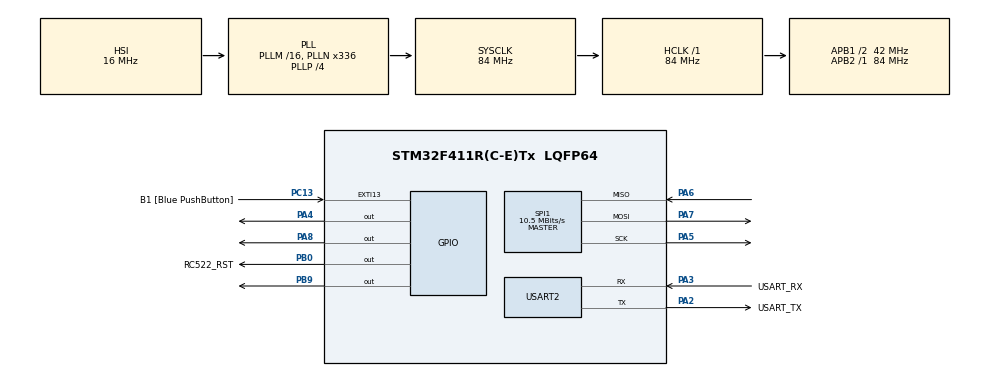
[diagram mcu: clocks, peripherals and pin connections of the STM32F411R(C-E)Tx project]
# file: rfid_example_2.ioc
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Mcu.Family=STM32F4
Mcu.Name=STM32F411R(C-E)Tx
Mcu.Package=LQFP64
NVIC.PriorityGroup=NVIC_PRIORITYGROUP_0
PA13.GPIO_Label=TMS
PA13.Mode=Serial_Wire
PA13.Signal=SYS_JTMS-SWDIO
PA14.GPIO_Label=TCK
PA14.Mode=Serial_Wire
PA14.Signal=SYS_JTCK-SWCLK
PA2.GPIO_Label=USART_TX
PA2.Mode=Asynchronous
PA2.Signal=USART2_TX
PA3.GPIO_Label=USART_RX
PA3.Mode=Asynchronous
PA3.Signal=USART2_RX
PA4.Signal=GPIO_Output
PA5.Mode=Full_Duplex_Master
PA5.Signal=SPI1_SCK
PA6.Mode=Full_Duplex_Master
PA6.Signal=SPI1_MISO
PA7.Mode=Full_Duplex_Master
PA7.Signal=SPI1_MOSI
PA8.Signal=GPIO_Output
PB0.GPIO_Label=RC522_RST
PB0.Signal=GPIO_Output
PB9.Signal=GPIO_Output
PC13-ANTI_TAMP.GPIO_Label=B1 [Blue PushButton]
PC13-ANTI_TAMP.GPIO_ModeDefaultEXTI=GPIO_MODE_IT_FALLING
PC13-ANTI_TAMP.Signal=GPXTI13
PC14-OSC32_IN.Signal=RCC_OSC32_IN
PC15-OSC32_OUT.Signal=RCC_OSC32_OUT
PH0\ -\ OSC_IN.Mode=HSE-External-Oscillator
PH0\ -\ OSC_IN.Signal=RCC_OSC_IN
PH1\ -\ OSC_OUT.Mode=HSE-External-Oscillator
PH1\ -\ OSC_OUT.Signal=RCC_OSC_OUT
ProjectManager.HeapSize=0x200
ProjectManager.StackSize=0x400
ProjectManager.TargetToolchain=STM32CubeIDE
RCC.48MHZClocksFreq_Value=84000000
RCC.AHBFreq_Value=84000000
RCC.APB1CLKDivider=RCC_HCLK_DIV2
RCC.APB1Freq_Value=42000000
RCC.APB1TimFreq_Value=84000000
RCC.APB2Freq_Value=84000000
RCC.APB2TimFreq_Value=84000000
RCC.CortexFreq_Value=84000000
RCC.FLatency-AdvancedSettings=FLASH_LATENCY_2
RCC.HCLKFreq_Value=84000000
RCC.HSE_VALUE=8000000
RCC.HSI_VALUE=16000000
RCC.LSE_VALUE=32768
RCC.PLLN=336
RCC.PLLP=RCC_PLLP_DIV4
RCC.SYSCLKFreq_VALUE=84000000
RCC.SYSCLKSource=RCC_SYSCLKSOURCE_PLLCLK
RCC.VCOOutputFreq_Value=336000000
SPI1.BaudRatePrescaler=SPI_BAUDRATEPRESCALER_8
SPI1.CalculateBaudRate=10.5 MBits/s
SPI1.Direction=SPI_DIRECTION_2LINES
SPI1.Mode=SPI_MODE_MASTER
SPI1.VirtualType=VM_MASTER
USART2.VirtualMode=VM_ASYNC
board=NUCLEO-F411RE

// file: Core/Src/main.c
/* USER CODE BEGIN Header */
/**
 ******************************************************************************
 * @file           : main.c
 * @brief          : Main program body
 ******************************************************************************
 * @attention
 *
 * Copyright (c) 2025 STMicroelectronics.
 * All rights reserved.
 *
 * This software is licensed under terms that can be found in the LICENSE file
 * in the root directory of this software component.
 * If no LICENSE file comes with this software, it is provided AS-IS.
 *
 ******************************************************************************
 */
/* USER CODE END Header */
#include "main.h"

/* USER CODE BEGIN Includes */
#include "main.h"
#include "mfrc522.h"
#include <stdio.h>
#include <string.h>
/* USER CODE END Includes */

SPI_HandleTypeDef hspi1;

UART_HandleTypeDef huart2;

/* USER CODE BEGIN PV */
uint8_t cardID[5];
/* USER CODE END PV */

void SystemClock_Config(void);
static void MX_GPIO_Init(void);
static void MX_USART2_UART_Init(void);
static void MX_SPI1_Init(void);

int main(void)
{

  /* MCU Configuration--------------------------------------------------------*/

  /* Reset of all peripherals, Initializes the Flash interface and the Systick. */
  HAL_Init();

  /* Configure the system clock */
  SystemClock_Config();

  /* Initialize all configured peripherals */
  MX_GPIO_Init();
  MX_USART2_UART_Init();
  MX_SPI1_Init();
  /* USER CODE BEGIN 2 */
	MFRC522_Init(); // RC522 초기화
	uint8_t version = MFRC522_ReadRegister(0x37);  // VersionReg
	printf("RC522 Version: 0x%02X\r\n", version);

	printf("RC522 Ready. Bring a card...\r\n");
  /* USER CODE END 2 */

  /* Infinite loop */
  /* USER CODE BEGIN WHILE */
	while (1) {
		if (MFRC522_Check(cardID) == MI_OK) {
			printf("Card UID: ");
			for (int i = 0; i < 4; i++) {
				printf("%02X ", cardID[i]);
			}
			printf("\r\n");

			HAL_Delay(1000); // 동일 카드 반복 인식 방지용
		}

		HAL_Delay(200);
    /* USER CODE END WHILE */

	}
}

void SystemClock_Config(void)
{
  RCC_OscInitTypeDef RCC_OscInitStruct = {0};
  RCC_ClkInitTypeDef RCC_ClkInitStruct = {0};

  /** Configure the main internal regulator output voltage
  */
  __HAL_RCC_PWR_CLK_ENABLE();
  __HAL_PWR_VOLTAGESCALING_CONFIG(PWR_REGULATOR_VOLTAGE_SCALE1);

  /** Initializes the RCC Oscillators according to the specified parameters
  * in the RCC_OscInitTypeDef structure.
  */
  RCC_OscInitStruct.OscillatorType = RCC_OSCILLATORTYPE_HSI;
  RCC_OscInitStruct.HSIState = RCC_HSI_ON;
  RCC_OscInitStruct.HSICalibrationValue = RCC_HSICALIBRATION_DEFAULT;
  RCC_OscInitStruct.PLL.PLLState = RCC_PLL_ON;
  RCC_OscInitStruct.PLL.PLLSource = RCC_PLLSOURCE_HSI;
  RCC_OscInitStruct.PLL.PLLM = 16;
  RCC_OscInitStruct.PLL.PLLN = 336;
  RCC_OscInitStruct.PLL.PLLP = RCC_PLLP_DIV4;
  RCC_OscInitStruct.PLL.PLLQ = 4;
  if (HAL_RCC_OscConfig(&RCC_OscInitStruct) != HAL_OK)
  {
    Error_Handler();
  }

  /** Initializes the CPU, AHB and APB buses clocks
  */
  RCC_ClkInitStruct.ClockType = RCC_CLOCKTYPE_HCLK|RCC_CLOCKTYPE_SYSCLK
                              |RCC_CLOCKTYPE_PCLK1|RCC_CLOCKTYPE_PCLK2;
  RCC_ClkInitStruct.SYSCLKSource = RCC_SYSCLKSOURCE_PLLCLK;
  RCC_ClkInitStruct.AHBCLKDivider = RCC_SYSCLK_DIV1;
  RCC_ClkInitStruct.APB1CLKDivider = RCC_HCLK_DIV2;
  RCC_ClkInitStruct.APB2CLKDivider = RCC_HCLK_DIV1;

  if (HAL_RCC_ClockConfig(&RCC_ClkInitStruct, FLASH_LATENCY_2) != HAL_OK)
  {
    Error_Handler();
  }
}

static void MX_SPI1_Init(void)
{

  /* SPI1 parameter configuration*/
  hspi1.Instance = SPI1;
  hspi1.Init.Mode = SPI_MODE_MASTER;
  hspi1.Init.Direction = SPI_DIRECTION_2LINES;
  hspi1.Init.DataSize = SPI_DATASIZE_8BIT;
  hspi1.Init.CLKPolarity = SPI_POLARITY_LOW;
  hspi1.Init.CLKPhase = SPI_PHASE_1EDGE;
  hspi1.Init.NSS = SPI_NSS_SOFT;
  hspi1.Init.BaudRatePrescaler = SPI_BAUDRATEPRESCALER_8;
  hspi1.Init.FirstBit = SPI_FIRSTBIT_MSB;
  hspi1.Init.TIMode = SPI_TIMODE_DISABLE;
  hspi1.Init.CRCCalculation = SPI_CRCCALCULATION_DISABLE;
  hspi1.Init.CRCPolynomial = 10;
  if (HAL_SPI_Init(&hspi1) != HAL_OK)
  {
    Error_Handler();
  }

}

static void MX_USART2_UART_Init(void)
{

  huart2.Instance = USART2;
  huart2.Init.BaudRate = 115200;
  huart2.Init.WordLength = UART_WORDLENGTH_8B;
  huart2.Init.StopBits = UART_STOPBITS_1;
  huart2.Init.Parity = UART_PARITY_NONE;
  huart2.Init.Mode = UART_MODE_TX_RX;
  huart2.Init.HwFlowCtl = UART_HWCONTROL_NONE;
  huart2.Init.OverSampling = UART_OVERSAMPLING_16;
  if (HAL_UART_Init(&huart2) != HAL_OK)
  {
    Error_Handler();
  }

}

static void MX_GPIO_Init(void)
{
  GPIO_InitTypeDef GPIO_InitStruct = {0};

  /* GPIO Ports Clock Enable */
  __HAL_RCC_GPIOC_CLK_ENABLE();
  __HAL_RCC_GPIOH_CLK_ENABLE();
  __HAL_RCC_GPIOA_CLK_ENABLE();
  __HAL_RCC_GPIOB_CLK_ENABLE();

  /*Configure GPIO pin Output Level */
  HAL_GPIO_WritePin(GPIOA, GPIO_PIN_4|GPIO_PIN_8, GPIO_PIN_RESET);

  /*Configure GPIO pin Output Level */
  HAL_GPIO_WritePin(GPIOB, RC522_RST_Pin|GPIO_PIN_9, GPIO_PIN_RESET);

  /*Configure GPIO pin : B1_Pin */
  GPIO_InitStruct.Pin = B1_Pin;
  GPIO_InitStruct.Mode = GPIO_MODE_IT_FALLING;
  GPIO_InitStruct.Pull = GPIO_NOPULL;
  HAL_GPIO_Init(B1_GPIO_Port, &GPIO_InitStruct);

  /*Configure GPIO pins : PA4 PA8 */
  GPIO_InitStruct.Pin = GPIO_PIN_4|GPIO_PIN_8;
  GPIO_InitStruct.Mode = GPIO_MODE_OUTPUT_PP;
  GPIO_InitStruct.Pull = GPIO_NOPULL;
  GPIO_InitStruct.Speed = GPIO_SPEED_FREQ_LOW;
  HAL_GPIO_Init(GPIOA, &GPIO_InitStruct);

  /*Configure GPIO pins : RC522_RST_Pin PB9 */
  GPIO_InitStruct.Pin = RC522_RST_Pin|GPIO_PIN_9;
  GPIO_InitStruct.Mode = GPIO_MODE_OUTPUT_PP;
  GPIO_InitStruct.Pull = GPIO_NOPULL;
  GPIO_InitStruct.Speed = GPIO_SPEED_FREQ_LOW;
  HAL_GPIO_Init(GPIOB, &GPIO_InitStruct);

}

/* USER CODE BEGIN 4 */

int __io_putchar(int ch)  // printf 재지정
{
    HAL_UART_Transmit(&huart2, (uint8_t *)&ch, 1, HAL_MAX_DELAY);
    return ch;
}
/* USER CODE END 4 */

void Error_Handler(void)
{
	__disable_irq();
	while (1) {
	}
}
